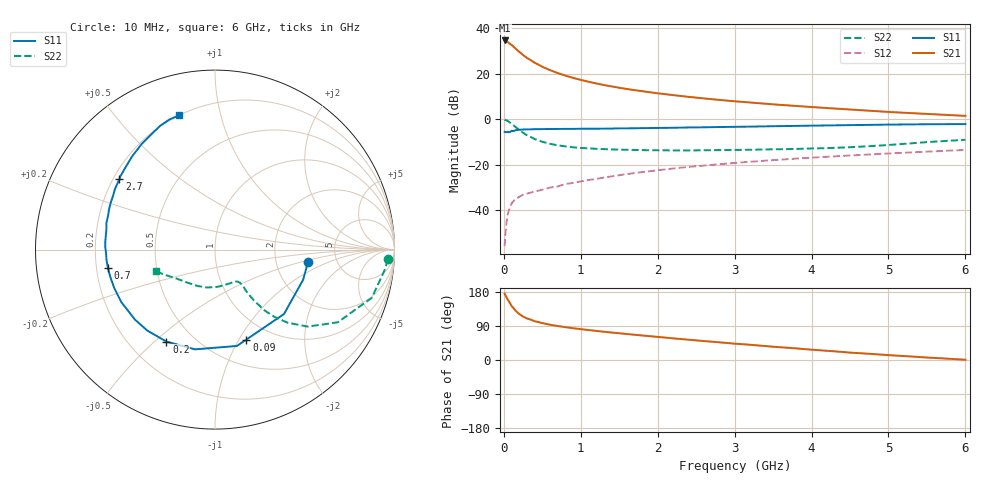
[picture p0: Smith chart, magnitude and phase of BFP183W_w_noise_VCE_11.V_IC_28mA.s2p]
! (c) 2017  Infineon Technologies AG, Munich
! Infineon Technologies  Discrete & RF Semiconductors
! BFP183W
! VCE =  11. V,  IC =  28 mA
! Common Emitter S-Parameters:  Jan 2017
# GHz  S  MA  R  50
!  f  S11  S21  S12  S22
! GHz  MAG  ANG  MAG  ANG  MAG  ANG  MAG  ANG
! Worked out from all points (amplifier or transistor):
!   77 points, 10 MHz to 6 GHz, reference 50 ohm
!   highest |S21| = 34.6 dB at 10 MHz (marker M1)
!   |S21| within 3 dB of that: start of sweep to 134.1 MHz
!   unconditionally stable (mu >= 1): 1.096 GHz to 3.472 GHz
!   at 130 MHz: K = 0.28, MSG = 33.8 dB, |S12| = -36.0 dB
!   at 2.2 GHz: K = 1.06, MAG = 14.7 dB, |S12| = -21.8 dB
!   at 6 GHz: K = 0.86, MSG = 7.5 dB, |S12| = -13.6 dB
!   lowest NFmin = 1.35 dB at 450 MHz
!   S11 on the Smith chart (normalised r, x): 10 MHz: 3.07, -0.58; 90 MHz: 0.77, -1.07; 200 MHz: 0.35, -0.55; 700 MHz: 0.25, -0.08; 2.7 GHz: 0.22, +0.31; 6 GHz: 0.20, +0.75
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0.01  0.5228 -7.6  53.42 175.4  0.0016 80.7  0.9651 -3.2
0.02  0.519 -18.8  52.26 170.9  0.0029 90.2  0.9519 -6.9
0.05  0.526 -43.0  49.51 159.5  0.0079 73.5  0.914 -17.1
0.09  0.5308 -70.8  43.74 146.5  0.0126 64.7  0.8152 -27.6
0.1  0.5506 -77.2  42.71 142.7  0.0138 63.4  0.7954 -30.6
0.15  0.5668 -101.3  35.81 130.5  0.0174 54.5  0.6716 -39.7
0.2  0.5795 -117.8  30.03 121.4  0.0194 51.7  0.5739 -45.2
0.25  0.5881 -129.8  25.59 114.7  0.0217 48.0  0.4984 -48.6
0.3  0.5925 -138.8  22.1 109.7  0.0228 47.0  0.4401 -50.7
0.4  0.5986 -150.9  17.32 102.4  0.0254 47.7  0.3638 -52.5
0.5  0.6008 -159.3  14.09 97.3  0.0279 48.5  0.3163 -53.0
0.6  0.603 -165.3  11.9 93.1  0.0311 50.5  0.2853 -53.0
0.7  0.6053 -170.3  10.26 89.7  0.0329 53.5  0.2638 -52.6
0.9  0.6072 -178.1  8.022 83.9  0.0394 56.0  0.2394 -52.9
1.1  0.6128 175.9  6.61 79.1  0.0455 58.2  0.2268 -53.6
1.5  0.6232 166.3  4.87 70.6  0.0581 60.0  0.2118 -57.4
2.1  0.6392 154.1  3.516 59.1  0.0781 60.2  0.2049 -68.1
2.7  0.662 143.7  2.734 48.4  0.0979 58.1  0.2062 -82.7
3.1  0.677 137.4  2.383 41.7  0.1115 56.5  0.2098 -92.9
4.1  0.7189 123.7  1.789 25.8  0.1447 51.3  0.227 -119.0
5.1  0.7566 113.0  1.403 11.6  0.1776 45.2  0.2763 -145.3
6  0.7743 105.0  1.174 0.6  0.2088 39.3  0.3499 -159.7
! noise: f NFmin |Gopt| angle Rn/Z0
0.45  1.35  0.26  179  0.09
0.9  1.38  0.29  -179  0.1
1.9  1.87  0.44  -157  0.1
2.4  2.12  0.49  -152  0.14
